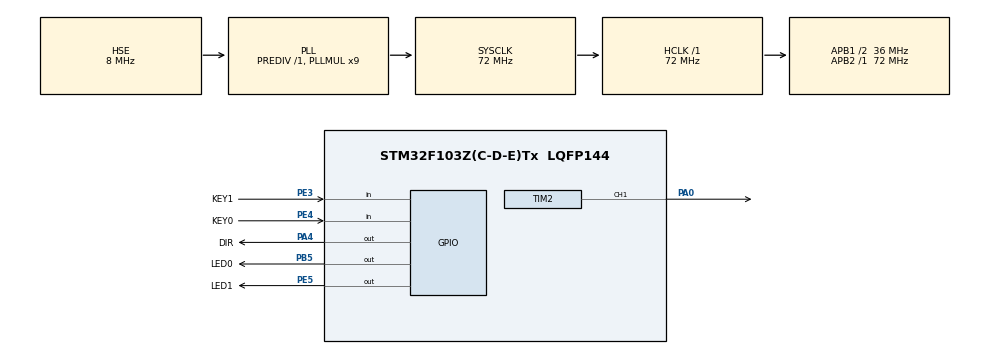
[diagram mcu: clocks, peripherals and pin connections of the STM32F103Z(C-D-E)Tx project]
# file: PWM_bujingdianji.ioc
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Mcu.Family=STM32F1
Mcu.Name=STM32F103Z(C-D-E)Tx
Mcu.Package=LQFP144
NVIC.PriorityGroup=NVIC_PRIORITYGROUP_4
OSC_IN.Mode=HSE-External-Oscillator
OSC_IN.Signal=RCC_OSC_IN
OSC_OUT.Mode=HSE-External-Oscillator
OSC_OUT.Signal=RCC_OSC_OUT
PA0-WKUP.Signal=S_TIM2_CH1_ETR
PA13.Mode=Serial_Wire
PA13.Signal=SYS_JTMS-SWDIO
PA14.Mode=Serial_Wire
PA14.Signal=SYS_JTCK-SWCLK
PA4.GPIO_Label=DIR
PA4.Signal=GPIO_Output
PB5.GPIO_Label=LED0
PB5.GPIO_PuPd=GPIO_PULLUP
PB5.PinState=GPIO_PIN_SET
PB5.Signal=GPIO_Output
PC14-OSC32_IN.Mode=LSE-External-Oscillator
PC14-OSC32_IN.Signal=RCC_OSC32_IN
PC15-OSC32_OUT.Mode=LSE-External-Oscillator
PC15-OSC32_OUT.Signal=RCC_OSC32_OUT
PE3.GPIO_Label=KEY1
PE3.GPIO_PuPd=GPIO_PULLUP
PE3.Signal=GPIO_Input
PE4.GPIO_Label=KEY0
PE4.GPIO_PuPd=GPIO_PULLUP
PE4.Signal=GPIO_Input
PE5.GPIO_Label=LED1
PE5.GPIO_PuPd=GPIO_PULLUP
PE5.PinState=GPIO_PIN_SET
PE5.Signal=GPIO_Output
ProjectManager.HeapSize=0x200
ProjectManager.StackSize=0x400
ProjectManager.TargetToolchain=MDK-ARM V5
RCC.AHBFreq_Value=72000000
RCC.APB1CLKDivider=RCC_HCLK_DIV2
RCC.APB1Freq_Value=36000000
RCC.APB1TimFreq_Value=72000000
RCC.APB2Freq_Value=72000000
RCC.APB2TimFreq_Value=72000000
RCC.HCLKFreq_Value=72000000
RCC.PLLMUL=RCC_PLL_MUL9
RCC.PLLSourceVirtual=RCC_PLLSOURCE_HSE
RCC.RTCClockSelection=RCC_RTCCLKSOURCE_LSE
RCC.SYSCLKFreq_VALUE=72000000
RCC.SYSCLKSource=RCC_SYSCLKSOURCE_PLLCLK
RCC.USBFreq_Value=72000000
SH.S_TIM2_CH1_ETR.0=TIM2_CH1,PWM Generation1 CH1
TIM2.AutoReloadPreload=TIM_AUTORELOAD_PRELOAD_ENABLE
TIM2.Channel-PWM\ Generation1\ CH1=TIM_CHANNEL_1
TIM2.Period=100-1
TIM2.Prescaler=144-1
TIM2.Pulse-PWM\ Generation1\ CH1=50
VP_RTC_VS_RTC_Activate.Mode=RTC_Enabled
VP_RTC_VS_RTC_Calendar.Mode=RTC_Calendar
VP_TIM2_VS_ClockSourceINT.Mode=Internal
board=custom

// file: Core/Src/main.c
/* USER CODE BEGIN Header */
/**
  ******************************************************************************
  * @file           : main.c
  * @brief          : Main program body
  ******************************************************************************
  * @attention
  *
  * Copyright (c) 2023 STMicroelectronics.
  * All rights reserved.
  *
  * This software is licensed under terms that can be found in the LICENSE file
  * in the root directory of this software component.
  * If no LICENSE file comes with this software, it is provided AS-IS.
  *
  ******************************************************************************
  */
/* USER CODE END Header */
#include "main.h"
#include "rtc.h"
#include "tim.h"
#include "gpio.h"

/* USER CODE BEGIN Includes */
void for_delay_us(uint32_t nus);
/* USER CODE END Includes */

void SystemClock_Config(void);

/* USER CODE BEGIN 0 */
uint8_t pwm_marks = 0;
uint8_t ss_marks = 0;
/* USER CODE END 0 */

int main(void)
{

  /* MCU Configuration--------------------------------------------------------*/

  /* Reset of all peripherals, Initializes the Flash interface and the Systick. */
  HAL_Init();

  /* Configure the system clock */
  SystemClock_Config();

  /* Initialize all configured peripherals */
  MX_GPIO_Init();
  MX_RTC_Init();
  MX_TIM2_Init();
  /* USER CODE BEGIN 2 */
	for_delay_us(10);
  /* USER CODE END 2 */

  /* Infinite loop */
  /* USER CODE BEGIN WHILE */
  while (1)
  {
		if(HAL_GPIO_ReadPin(KEY1_GPIO_Port,KEY1_Pin)==0){
			HAL_Delay(10);
			while(HAL_GPIO_ReadPin(KEY1_GPIO_Port,KEY1_Pin)==0);
			HAL_Delay(10);
			if(HAL_GPIO_ReadPin(KEY1_GPIO_Port,KEY1_Pin)==1){

				if(ss_marks==0){
					HAL_TIM_PWM_Start(&htim2,TIM_CHANNEL_1);
					HAL_GPIO_WritePin(LED1_GPIO_Port,LED1_Pin,GPIO_PIN_RESET);
					ss_marks=1;
				}else if(ss_marks==1){
					HAL_TIM_PWM_Stop(&htim2,TIM_CHANNEL_1);
					HAL_GPIO_WritePin(LED1_GPIO_Port,LED1_Pin,GPIO_PIN_SET);
					ss_marks=0;
				}

			}
		}

			if(HAL_GPIO_ReadPin(KEY0_GPIO_Port,KEY0_Pin)==0){
			HAL_Delay(10);
			while(HAL_GPIO_ReadPin(KEY0_GPIO_Port,KEY0_Pin)==0);
			HAL_Delay(10);
			if(HAL_GPIO_ReadPin(KEY0_GPIO_Port,KEY0_Pin)==1){
				HAL_TIM_PWM_Stop(&htim2,TIM_CHANNEL_1);
				for_delay_us(10);
				if(pwm_marks==0){
					HAL_GPIO_WritePin(LED0_GPIO_Port,LED0_Pin,GPIO_PIN_RESET);
					HAL_GPIO_WritePin(DIR_GPIO_Port,DIR_Pin,GPIO_PIN_RESET);
					for_delay_us(10);
					pwm_marks=1;
					HAL_TIM_PWM_Start(&htim2,TIM_CHANNEL_1);
				}else if(pwm_marks==1){
					HAL_GPIO_WritePin(LED0_GPIO_Port,LED0_Pin,GPIO_PIN_SET);
					HAL_GPIO_WritePin(DIR_GPIO_Port,DIR_Pin,GPIO_PIN_SET);
					for_delay_us(10);
					pwm_marks=0;
					HAL_TIM_PWM_Start(&htim2,TIM_CHANNEL_1);
				}

			}
		}

		}

    /* USER CODE END WHILE */

}

void SystemClock_Config(void)
{
  RCC_OscInitTypeDef RCC_OscInitStruct = {0};
  RCC_ClkInitTypeDef RCC_ClkInitStruct = {0};
  RCC_PeriphCLKInitTypeDef PeriphClkInit = {0};

  /** Initializes the RCC Oscillators according to the specified parameters
  * in the RCC_OscInitTypeDef structure.
  */
  RCC_OscInitStruct.OscillatorType = RCC_OSCILLATORTYPE_HSE|RCC_OSCILLATORTYPE_LSE;
  RCC_OscInitStruct.HSEState = RCC_HSE_ON;
  RCC_OscInitStruct.HSEPredivValue = RCC_HSE_PREDIV_DIV1;
  RCC_OscInitStruct.LSEState = RCC_LSE_ON;
  RCC_OscInitStruct.HSIState = RCC_HSI_ON;
  RCC_OscInitStruct.PLL.PLLState = RCC_PLL_ON;
  RCC_OscInitStruct.PLL.PLLSource = RCC_PLLSOURCE_HSE;
  RCC_OscInitStruct.PLL.PLLMUL = RCC_PLL_MUL9;
  if (HAL_RCC_OscConfig(&RCC_OscInitStruct) != HAL_OK)
  {
    Error_Handler();
  }

  /** Initializes the CPU, AHB and APB buses clocks
  */
  RCC_ClkInitStruct.ClockType = RCC_CLOCKTYPE_HCLK|RCC_CLOCKTYPE_SYSCLK
                              |RCC_CLOCKTYPE_PCLK1|RCC_CLOCKTYPE_PCLK2;
  RCC_ClkInitStruct.SYSCLKSource = RCC_SYSCLKSOURCE_PLLCLK;
  RCC_ClkInitStruct.AHBCLKDivider = RCC_SYSCLK_DIV1;
  RCC_ClkInitStruct.APB1CLKDivider = RCC_HCLK_DIV2;
  RCC_ClkInitStruct.APB2CLKDivider = RCC_HCLK_DIV1;

  if (HAL_RCC_ClockConfig(&RCC_ClkInitStruct, FLASH_LATENCY_2) != HAL_OK)
  {
    Error_Handler();
  }
  PeriphClkInit.PeriphClockSelection = RCC_PERIPHCLK_RTC;
  PeriphClkInit.RTCClockSelection = RCC_RTCCLKSOURCE_LSE;
  if (HAL_RCCEx_PeriphCLKConfig(&PeriphClkInit) != HAL_OK)
  {
    Error_Handler();
  }
}

/* USER CODE BEGIN 4 */
/*
forѭ��ʵ����ʱus
*/

void for_delay_us(uint32_t nus)
{
 uint32_t Delay = nus * 168/4;
 do
 {
  __NOP();
 }
 while (Delay --);
}

/* USER CODE END 4 */

void Error_Handler(void)
{
  __disable_irq();
  while (1)
  {
  }
}
